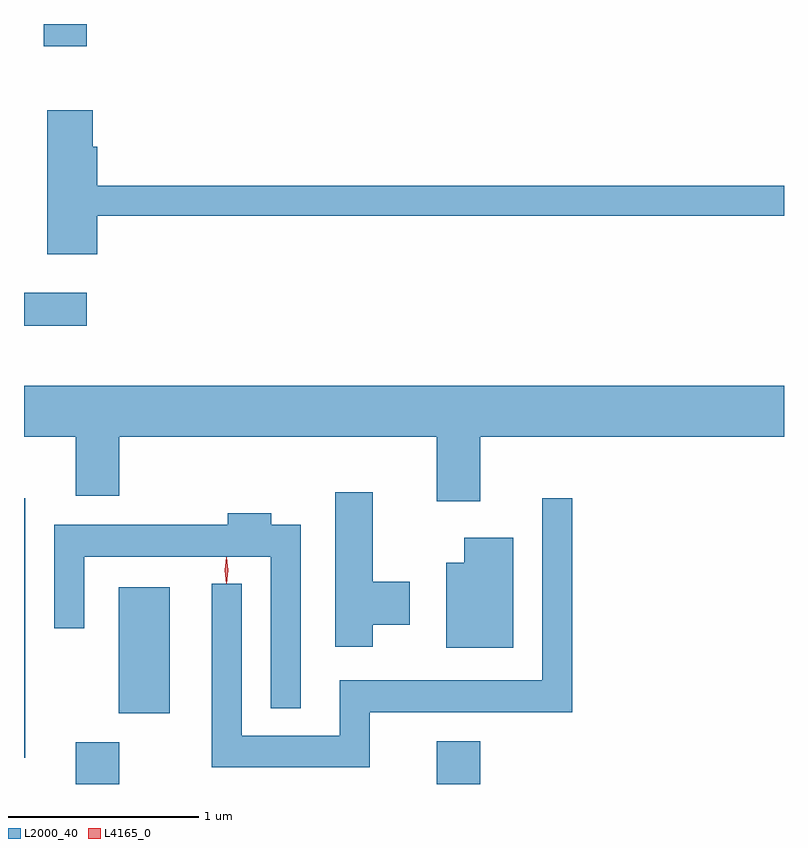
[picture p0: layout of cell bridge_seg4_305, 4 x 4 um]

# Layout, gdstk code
import gdstk
lib = gdstk.Library(unit=1e-6, precision=1e-09)
def R(c, l, rs):  # rectangles x0, y0, x1, y1
    for r in rs: c.add(gdstk.rectangle(r[:2], r[2:], *l))
def P(c, l, *ps):  # polygons
    for p in ps: c.add(gdstk.Polygon(p, *l))
L2000_40 = (2000, 40)
L4165_0 = (4165, 0)

bridge_seg4_305 = lib.new_cell('bridge_seg4_305')
R(bridge_seg4_305, L2000_40, [(540.271,1310.669,540.499,1310.889), (542.171,1310.669,542.399,1310.894), (539.998,1310.806,540.004,1312.173), (540.496,1311.041,540.764,1311.704), (539.998,1313.081,540.329,1313.254), (540.101,1314.551,540.329,1314.669)])
P(bridge_seg4_305, L2000_40, [(540.384,1313.661),(543.998,1313.661),(543.998,1313.819),(540.384,1313.819),(540.384,1314.024),(540.359,1314.024),(540.359,1314.214),(540.121,1314.214),(540.121,1313.456),(540.384,1313.456)],
  [(542.399,1312.496),(543.998,1312.496),(543.998,1312.764),(539.998,1312.764),(539.998,1312.496),(540.271,1312.496),(540.271,1312.186),(540.499,1312.186),(540.499,1312.496),(542.171,1312.496),(542.171,1312.156),(542.399,1312.156)],
  [(541.834,1311.506),(542.029,1311.506),(542.029,1311.734),(541.834,1311.734),(541.834,1312.204),(541.636,1312.204),(541.636,1311.391),(541.834,1311.391)],
  [(541.819,1311.046),(542.884,1311.046),(542.884,1312.173),(542.726,1312.173),(542.726,1311.214),(541.661,1311.214),(541.661,1310.924),(541.144,1310.924),(541.144,1311.723),(540.986,1311.723),(540.986,1310.756),(541.819,1310.756)],
  [(541.454,1312.034),(541.299,1312.034),(541.299,1312.094),(541.071,1312.094),(541.071,1312.034),(540.156,1312.034),(540.156,1311.488),(540.314,1311.488),(540.314,1311.866),(541.296,1311.866),(541.296,1311.068),(541.454,1311.068)],
  [(542.574,1311.964),(542.316,1311.964),(542.316,1311.834),(542.221,1311.834),(542.221,1311.386),(542.574,1311.386)])
P(bridge_seg4_305, L4165_0, [(541.064,1311.727),(541.055,1311.794),(541.064,1311.86),(541.064,1311.86),(541.065,1311.86),(541.074,1311.794),(541.065,1311.727),(541.065,1311.727)],
  [(541.063,1311.724),(541.054,1311.793),(541.063,1311.862),(541.064,1311.863),(541.064,1311.862),(541.074,1311.793),(541.064,1311.724),(541.064,1311.724)])

lib.write_gds('bridge_seg4_305.gds')
